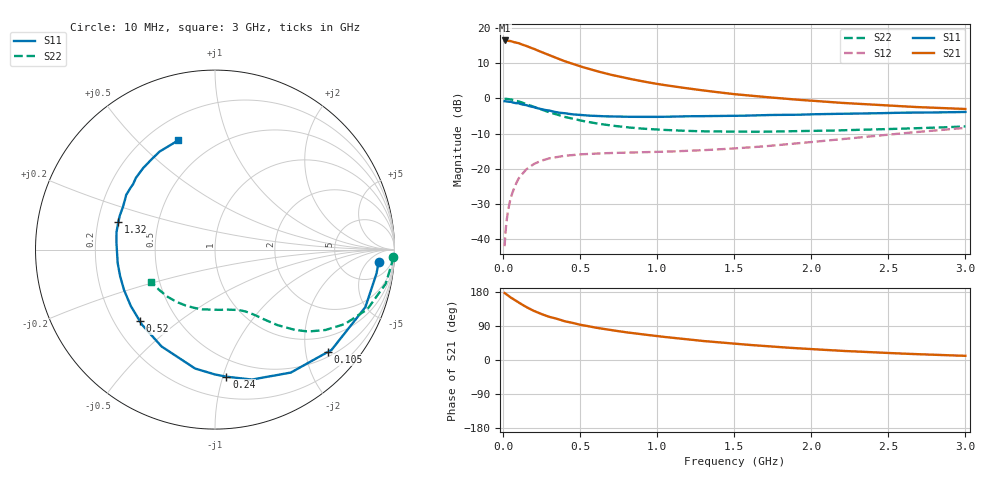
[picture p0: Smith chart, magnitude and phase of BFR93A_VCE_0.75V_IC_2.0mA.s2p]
! Infineon Technologies  Discrete & RF Semiconductors
! BFR93A
! VCE = 0.75 V,  IC =  2.0 mA
! Common Emitter S-Parameters:  Nov 2015
# GHz  S  MA  R  50
!  f  S11  S21  S12  S22
! GHz  MAG  ANG  MAG  ANG  MAG  ANG  MAG  ANG
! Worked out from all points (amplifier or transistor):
!   180 points, 10 MHz to 3 GHz, reference 50 ohm
!   highest |S21| = 16.6 dB at 10 MHz (marker M1)
!   |S21| within 3 dB of that: start of sweep to 232.2 MHz
!   unconditionally stable (mu >= 1): 936.1 MHz to end of sweep
!   at 160 MHz: K = 0.21, MSG = 17.4 dB, |S12| = -19.9 dB
!   at 1.22 GHz: K = 1.16, MAG = 6.4 dB, |S12| = -14.9 dB
!   at 3 GHz: K = 1.07, MAG = 1.1 dB, |S12| = -8.4 dB
!   S11 on the Smith chart (normalised r, x): 10 MHz: 13, -11; 105 MHz: 0.60, -2.46; 240 MHz: 0.36, -1.03; 520 MHz: 0.31, -0.37; 1.32 GHz: 0.29, +0.13; 3 GHz: 0.32, +0.67
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0.01  0.9148 -4.2  6.731 176.8  0.0078 87.9  0.9915 -2.3
0.02  0.9097 -8.4  6.727 173.8  0.0156 84.4  0.9884 -4.5
0.04  0.8965 -16.7  6.618 167.9  0.0306 79.0  0.9745 -9.0
0.05  0.8971 -20.9  6.59 164.9  0.0381 77.9  0.9699 -11.3
0.1  0.8567 -40.7  6.168 151.7  0.0714 67.3  0.9117 -21.4
0.105  0.8481 -42.3  6.103 150.6  0.0738 66.0  0.9032 -22.2
0.15  0.805 -58.3  5.631 139.6  0.0969 57.7  0.8351 -29.7
0.2  0.7528 -74.1  5.106 129.6  0.1161 50.8  0.7618 -36.0
0.24  0.7108 -84.9  4.688 122.8  0.127 46.1  0.7059 -40.1
0.3  0.6718 -99.5  4.15 113.9  0.1397 40.7  0.6358 -44.9
0.4  0.6163 -118.9  3.404 102.2  0.1523 34.7  0.546 -50.4
0.5  0.5836 -134.1  2.873 93.0  0.1593 31.0  0.4851 -54.2
0.52  0.5778 -136.4  2.791 91.7  0.1602 30.6  0.4764 -54.8
0.6  0.5646 -146.2  2.481 85.4  0.1637 28.9  0.442 -57.3
0.7  0.5546 -156.0  2.181 78.8  0.1667 27.9  0.4116 -60.2
0.8  0.5489 -164.4  1.949 73.0  0.1685 27.8  0.3885 -63.1
1.02  0.5468 -179.9  1.587 62.1  0.1734 29.0  0.3583 -69.8
1.32  0.5601 163.9  1.286 49.4  0.1839 32.8  0.3391 -80.6
1.52  0.565 155.3  1.142 42.4  0.1949 36.0  0.3356 -88.6
2.02  0.5956 137.2  0.924 28.3  0.2408 41.7  0.3446 -109.9
2.52  0.6212 121.9  0.787 18.2  0.3081 41.9  0.367 -131.6
3  0.6419 108.7  0.708 11.0  0.3804 37.8  0.3993 -153.4
